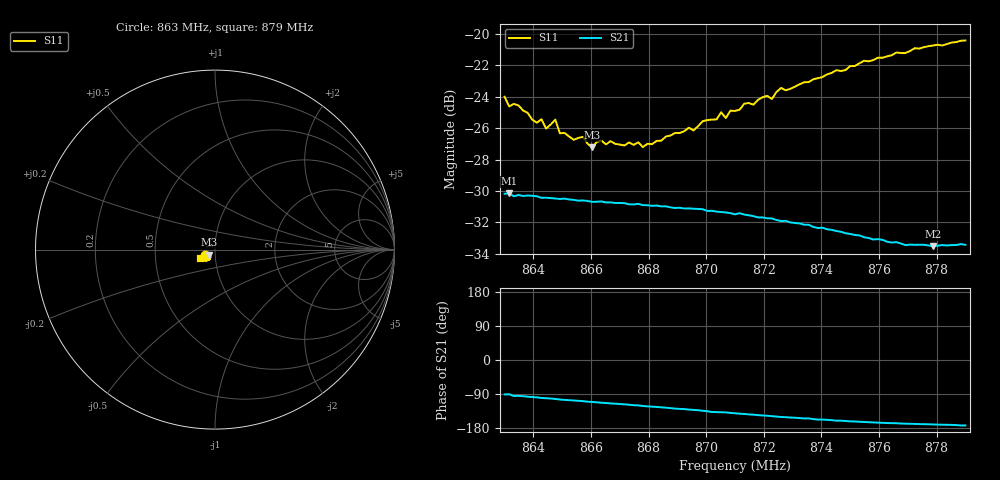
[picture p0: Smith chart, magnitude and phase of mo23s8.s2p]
# HZ S RI R 50
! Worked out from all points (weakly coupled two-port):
!   101 points, 863 MHz to 879 MHz, reference 50 ohm
!   highest |S21| = -30.14 dB at 863.16 MHz (marker M1); lowest = -33.5 dB at 877.88 MHz (marker M2)
!   lowest |S11| = -27.2 dB at 866.04 MHz (marker M3), VSWR 1.09, Z = 46.7 - j2.61 ohm
!   |S11| at or under -10 dB: start of sweep to end of sweep
!   S12 and S22 are empty: the file has one direction only
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8.63e8  -0.0563 -0.0283  -0.000454 -0.031  0 0  0 0
8.6316e8  -0.051 -0.0292  -0.000255 -0.0311  0 0  0 0
8.6348e8  -0.0523 -0.0276  -0.00242 -0.0306  0 0  0 0
8.6412e8  -0.0444 -0.0273  -0.00453 -0.0301  0 0  0 0
8.6428e8  -0.045 -0.0288  -0.00535 -0.0296  0 0  0 0
8.6444e8  -0.0424 -0.0264  -0.00568 -0.0296  0 0  0 0
8.6476e8  -0.0449 -0.0287  -0.00666 -0.0292  0 0  0 0
8.6492e8  -0.0397 -0.0274  -0.00732 -0.0289  0 0  0 0
8.654e8  -0.0369 -0.0275  -0.00858 -0.0284  0 0  0 0
8.6572e8  -0.0367 -0.0294  -0.00938 -0.028  0 0  0 0
8.6604e8  -0.0334 -0.0279  -0.0104 -0.0273  0 0  0 0
8.6636e8  -0.0362 -0.028  -0.0113 -0.027  0 0  0 0
8.678e8  -0.028 -0.0334  -0.0148 -0.0244  0 0  0 0
8.6844e8  -0.0264 -0.0373  -0.0162 -0.0232  0 0  0 0
8.71e8  -0.028 -0.0495  -0.0206 -0.0169  0 0  0 0
8.7196e8  -0.0335 -0.0531  -0.0217 -0.0144  0 0  0 0
8.7228e8  -0.0316 -0.0534  -0.022 -0.0136  0 0  0 0
8.726e8  -0.0355 -0.0572  -0.0221 -0.0125  0 0  0 0
8.7372e8  -0.0401 -0.0594  -0.0222 -0.00989  0 0  0 0
8.7644e8  -0.0612 -0.0596  -0.0211 -0.00499  0 0  0 0
8.7788e8  -0.0744 -0.0537  -0.0208 -0.00363  0 0  0 0
8.79e8  -0.0818 -0.0486  -0.0211 -0.0027  0 0  0 0
